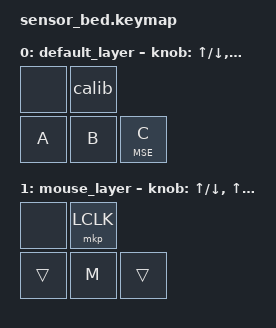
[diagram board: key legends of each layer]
/*
 * Copyright (c) 2020 The ZMK Contributors
 *
 * SPDX-License-Identifier: MIT
 */

#include <behaviors.dtsi>
#include <dt-bindings/zmk/keys.h>
#include <dt-bindings/zmk/bt.h>
#include <dt-bindings/zmk/outputs.h>
#include <dt-bindings/zmk/mouse.h>

#define DEFAULT 0
#define MSE 1

/ { 
    keymap {
        compatible = "zmk,keymap";
                
     		default_layer {
        		bindings = <
                &none &calib
                &kp A &kp B &lt MSE C
             		>;
        sensor-bindings = <&inc_dec_kp UP DOWN &inc_dec_kp UP DOWN>;
        slider-bindings = <&slv &slv>;
        trackball-bindings = <&tmv>;
  	    };

        mouse_layer {
        		bindings = <
                &none &mkp LCLK
                &trans &kp M &trans
             		>;
        sensor-bindings = <&inc_dec_kp UP DOWN &inc_dec_kp UP DOWN>;
        slider-bindings = <&slv &slv>;
        trackball-bindings = <&tmv>;
  	    };

   	};
};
